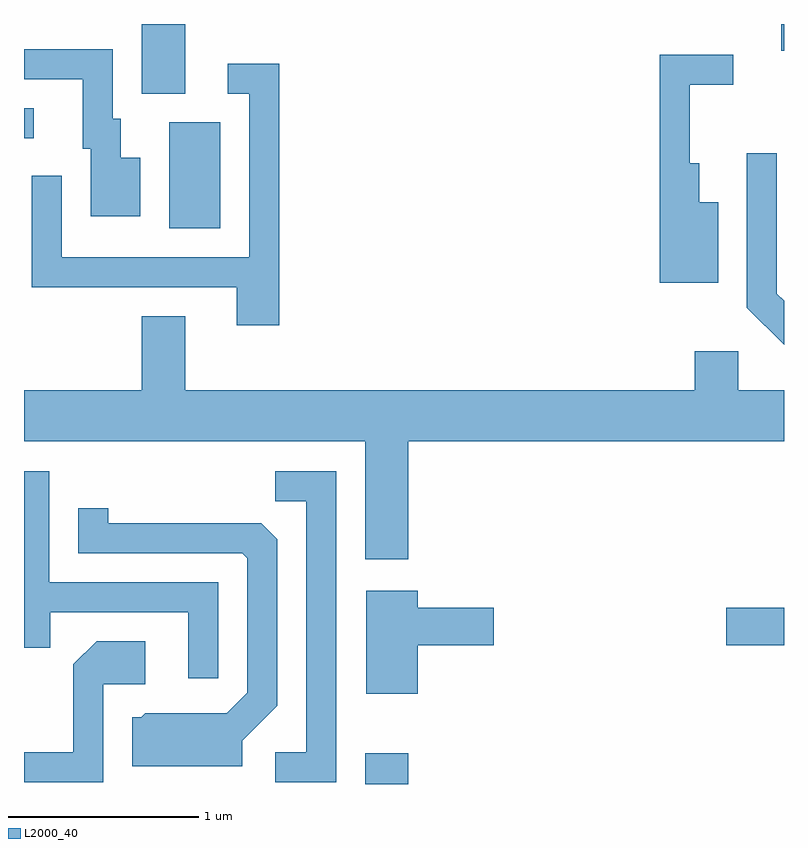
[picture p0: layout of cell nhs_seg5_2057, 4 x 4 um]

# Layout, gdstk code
import gdstk
lib = gdstk.Library(unit=1e-6, precision=1e-09)
def R(c, l, rs):  # rectangles x0, y0, x1, y1
    for r in rs: c.add(gdstk.rectangle(r[:2], r[2:], *l))
def P(c, l, *ps):  # polygons
    for p in ps: c.add(gdstk.Polygon(p, *l))
L2000_40 = (2000, 40)

nhs_seg5_2057 = lib.new_cell('nhs_seg5_2057')
R(nhs_seg5_2057, L2000_40, [(247.406,1486.072,247.634,1486.234), (249.306,1486.801,249.611,1486.999), (246.376,1488.996,246.644,1489.554), (245.611,1489.471,245.663,1489.629), (246.231,1489.706,246.459,1490.072), (249.596,1489.931,249.611,1490.072)])
P(nhs_seg5_2057, L2000_40, [(246.224,1489.369),(246.119,1489.369),(246.119,1489.574),(246.079,1489.574),(246.079,1489.939),(245.611,1489.939),(245.611,1489.781),(245.921,1489.781),(245.921,1489.416),(245.961,1489.416),(245.961,1489.061),(246.224,1489.061)],
  [(249.264,1489.134),(249.164,1489.134),(249.164,1489.339),(249.114,1489.339),(249.114,1489.751),(249.343,1489.751),(249.343,1489.909),(248.956,1489.909),(248.956,1488.711),(249.264,1488.711)],
  [(246.954,1489.864),(246.683,1489.864),(246.683,1489.706),(246.796,1489.706),(246.796,1488.844),(245.809,1488.844),(245.809,1489.273),(245.651,1489.273),(245.651,1488.686),(246.731,1488.686),(246.731,1488.486),(246.954,1488.486)],
  [(249.611,1488.615),(249.574,1488.652),(249.574,1489.393),(249.416,1489.393),(249.416,1488.579),(249.611,1488.384)],
  [(247.634,1487.876),(249.611,1487.876),(249.611,1488.144),(249.369,1488.144),(249.369,1488.349),(249.141,1488.349),(249.141,1488.144),(246.459,1488.144),(246.459,1488.534),(246.231,1488.534),(246.231,1488.144),(245.611,1488.144),(245.611,1487.876),(247.406,1487.876),(247.406,1487.256),(247.634,1487.256)],
  [(247.254,1487.719),(246.933,1487.719),(246.933,1487.561),(247.096,1487.561),(247.096,1486.239),(246.933,1486.239),(246.933,1486.081),(247.254,1486.081)],
  [(246.634,1487.134),(245.744,1487.134),(245.744,1487.719),(245.611,1487.719),(245.611,1486.788),(245.749,1486.788),(245.749,1486.976),(246.476,1486.976),(246.476,1486.628),(246.634,1486.628)],
  [(246.759,1486.299),(246.944,1486.484),(246.944,1487.359),(246.859,1487.444),(246.054,1487.444),(246.054,1487.523),(245.896,1487.523),(245.896,1487.286),(246.759,1487.286),(246.786,1487.259),(246.786,1486.552),(246.679,1486.444),(246.249,1486.444),(246.229,1486.424),(246.181,1486.424),(246.181,1486.166),(246.759,1486.166)],
  [(247.684,1486.801),(248.084,1486.801),(248.084,1486.999),(247.684,1486.999),(247.684,1487.089),(247.411,1487.089),(247.411,1486.546),(247.684,1486.546)],
  [(246.029,1486.596),(246.249,1486.596),(246.249,1486.824),(245.994,1486.824),(245.871,1486.702),(245.871,1486.239),(245.611,1486.239),(245.611,1486.081),(246.029,1486.081)])

lib.write_gds('nhs_seg5_2057.gds')
